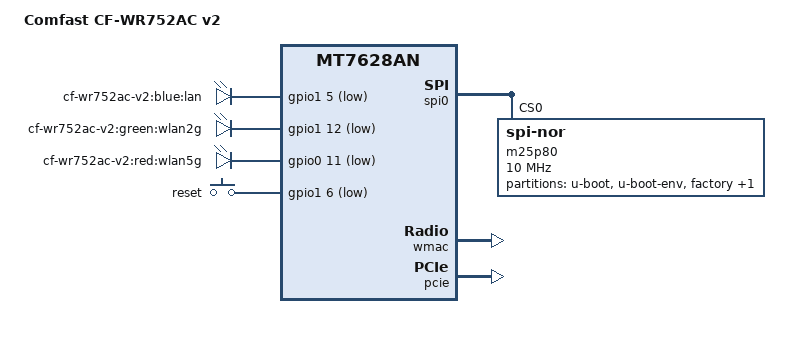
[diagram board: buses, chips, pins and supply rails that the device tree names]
// SPDX-License-Identifier: GPL-2.0-or-later OR MIT
/dts-v1/;

#include "mt7628an.dtsi"

#include <dt-bindings/gpio/gpio.h>
#include <dt-bindings/input/input.h>

/{
	compatible = "comfast,cf-wr752ac-v2", "mediatek,mt7628an-soc";
	model = "Comfast CF-WR752AC v2";

	aliases {
		led-boot = &led_lan;
		led-failsafe = &led_lan;
		led-running = &led_lan;
		led-upgrade = &led_lan;
	};

	chosen {
		bootargs = "console=ttyS0,57600";
	};

	leds {
		compatible = "gpio-leds";

		led-lan: lan {
			label = "cf-wr752ac-v2:blue:lan";
			gpios = <&gpio1 5 GPIO_ACTIVE_LOW>;
			linux,default-trigger = "netdev";
		};

		wlan2g {
			label = "cf-wr752ac-v2:green:wlan2g";
			gpios = <&gpio1 12 GPIO_ACTIVE_LOW>;
			linux,default-trigger = "phy0tpt";
		};
		
		wlan5g {
			label = "cf-wr752ac-v2:red:wlan5g";
			gpios = <&gpio0 11 GPIO_ACTIVE_LOW>;
			linux,default-trigger = "phy1tpt";
		};
	};

	keys {
		compatible = "gpio-keys";

		reset {
			label = "reset";
			gpios = <&gpio1 6 GPIO_ACTIVE_LOW>;
			linux,code = <KEY_RESTART>;
		};
	};
};

&spi0 {
	status = "okay";

	m25p80@0 {
		compatible = "jedec,spi-nor";
		reg = <0>;
		spi-max-frequency = <10000000>;

		partitions {
			compatible = "fixed-partitions";
			#address-cells = <1>;
			#size-cells = <1>;

			partition@0 {
				label = "u-boot";
				reg = <0x0 0x30000>;
				read-only;
			};

			partition@30000 {
				label = "u-boot-env";
				reg = <0x30000 0x10000>;
			};

			factory: partition@40000 {
				label = "factory";
				reg = <0x40000 0x10000>;
				//read-only;
			};

			partition@50000 {
				compatible = "denx,uimage";
				label = "firmware";
				reg = <0x50000 0xfb0000>;
			};
		};
	};
};

&state_default {
	gpio {
		ralink,group = "i2c", "wdt", "wled_an", "refclk", "gpio";
		ralink,function = "gpio";
	};
};

&ethernet {
	mtd-mac-address = <&factory 0x28>;
};

&wmac {
	status = "okay";
};

&pcie {
	status = "okay";
};

&pcie0 {
	mt76@0,0 {
		reg = <0x0000 0 0 0 0>;
		mediatek,mtd-eeprom = <&factory 0x8000>;
		ieee80211-freq-limit = <5000000 6000000>;
	};
};
